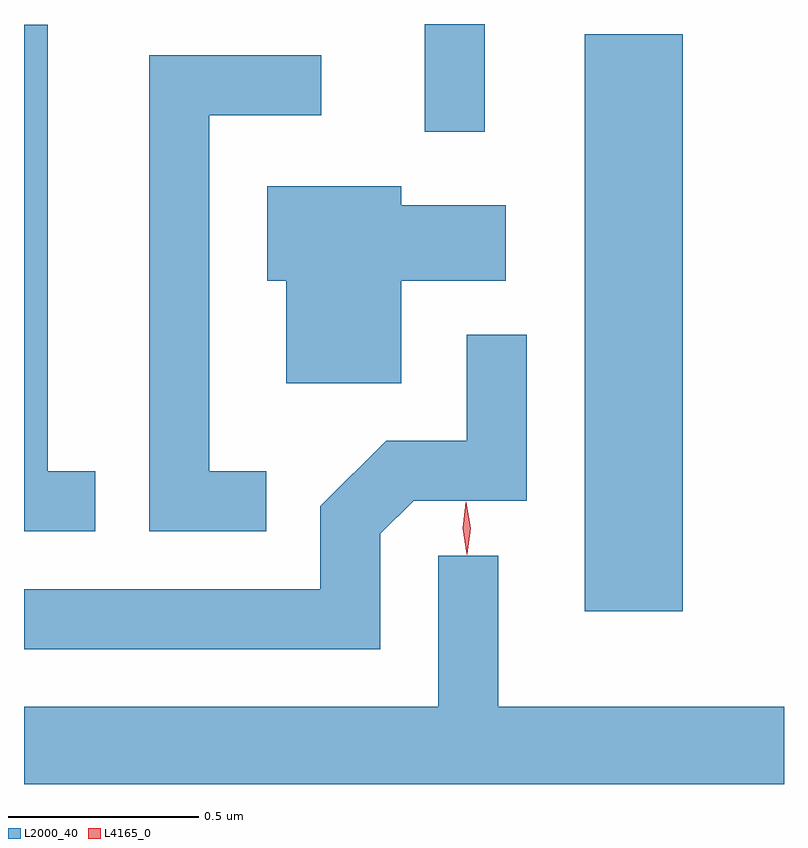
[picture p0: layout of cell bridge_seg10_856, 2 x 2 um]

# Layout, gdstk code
import gdstk
lib = gdstk.Library(unit=1e-6, precision=1e-09)
def R(c, l, rs):  # rectangles x0, y0, x1, y1
    for r in rs: c.add(gdstk.rectangle(r[:2], r[2:], *l))
def P(c, l, *ps):  # polygons
    for p in ps: c.add(gdstk.Polygon(p, *l))
L2000_40 = (2000, 40)
L4165_0 = (4165, 0)

bridge_seg10_856 = lib.new_cell('bridge_seg10_856')
R(bridge_seg10_856, L2000_40, [(380.686,2085.576,380.944,2087.094), (380.266,2086.838,380.424,2087.121)])
P(bridge_seg10_856, L2000_40, [(379.398,2085.944),(379.274,2085.944),(379.274,2087.119),(379.211,2087.119),(379.211,2085.786),(379.398,2085.786)],
  [(379.848,2085.944),(379.699,2085.944),(379.699,2086.881),(379.993,2086.881),(379.993,2087.039),(379.541,2087.039),(379.541,2085.786),(379.848,2085.786)],
  [(380.204,2086.446),(380.479,2086.446),(380.479,2086.644),(380.204,2086.644),(380.204,2086.694),(379.851,2086.694),(379.851,2086.446),(379.901,2086.446),(379.901,2086.176),(380.204,2086.176)],
  [(380.149,2085.779),(380.237,2085.866),(380.534,2085.866),(380.534,2086.303),(380.376,2086.303),(380.376,2086.024),(380.164,2086.024),(379.991,2085.852),(379.991,2085.634),(379.211,2085.634),(379.211,2085.476),(380.149,2085.476)],
  [(381.211,2085.324),(380.459,2085.324),(380.459,2085.722),(380.301,2085.722),(380.301,2085.324),(379.211,2085.324),(379.211,2085.121),(381.211,2085.121)])
P(bridge_seg10_856, L4165_0, [(380.377,2085.724),(380.376,2085.725),(380.366,2085.794),(380.374,2085.863),(380.375,2085.863),(380.375,2085.863),(380.386,2085.794),(380.377,2085.725)],
  [(380.377,2085.727),(380.376,2085.728),(380.366,2085.794),(380.374,2085.86),(380.375,2085.861),(380.375,2085.86),(380.386,2085.794),(380.377,2085.728)])

lib.write_gds('bridge_seg10_856.gds')
